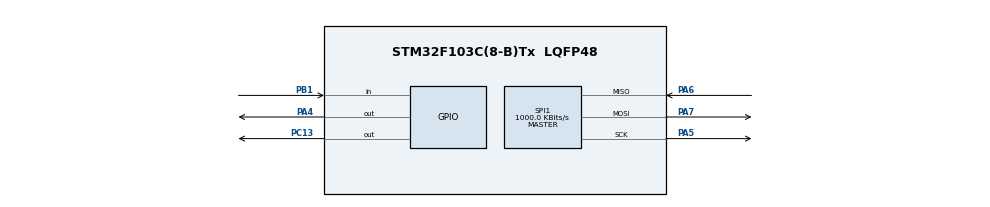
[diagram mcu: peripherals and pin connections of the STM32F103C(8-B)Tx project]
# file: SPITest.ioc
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Mcu.Family=STM32F1
Mcu.Name=STM32F103C(8-B)Tx
Mcu.Package=LQFP48
NVIC.PriorityGroup=NVIC_PRIORITYGROUP_4
PA13.Mode=Serial_Wire
PA13.Signal=SYS_JTMS-SWDIO
PA14.Mode=Serial_Wire
PA14.Signal=SYS_JTCK-SWCLK
PA4.GPIO_ModeDefaultOutputPP=GPIO_MODE_OUTPUT_PP
PA4.GPIO_Speed=GPIO_SPEED_FREQ_HIGH
PA4.PinState=GPIO_PIN_SET
PA4.Signal=GPIO_Output
PA5.Mode=Full_Duplex_Master
PA5.Signal=SPI1_SCK
PA6.Mode=Full_Duplex_Master
PA6.Signal=SPI1_MISO
PA7.Mode=Full_Duplex_Master
PA7.Signal=SPI1_MOSI
PB1.GPIO_PuPd=GPIO_PULLUP
PB1.Signal=GPIO_Input
PC13-TAMPER-RTC.GPIO_ModeDefaultOutputPP=GPIO_MODE_OUTPUT_OD
PC13-TAMPER-RTC.GPIO_PuPd=GPIO_NOPULL
PC13-TAMPER-RTC.PinState=GPIO_PIN_SET
PC13-TAMPER-RTC.Signal=GPIO_Output
ProjectManager.HeapSize=0x200
ProjectManager.StackSize=0x400
ProjectManager.TargetToolchain=MDK-ARM V5.32
RCC.APB1Freq_Value=8000000
RCC.APB2Freq_Value=8000000
SPI1.BaudRatePrescaler=SPI_BAUDRATEPRESCALER_8
SPI1.CLKPhase=SPI_PHASE_2EDGE
SPI1.CLKPolarity=SPI_POLARITY_HIGH
SPI1.CalculateBaudRate=1000.0 KBits/s
SPI1.Direction=SPI_DIRECTION_2LINES
SPI1.Mode=SPI_MODE_MASTER
SPI1.VirtualType=VM_MASTER
board=custom

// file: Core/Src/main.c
/* USER CODE BEGIN Header */
/**
  ******************************************************************************
  * @file           : main.c
  * @brief          : Main program body
  ******************************************************************************
  * @attention
  *
  * Copyright (c) 2025 STMicroelectronics.
  * All rights reserved.
  *
  * This software is licensed under terms that can be found in the LICENSE file
  * in the root directory of this software component.
  * If no LICENSE file comes with this software, it is provided AS-IS.
  *
  ******************************************************************************
  */
/* USER CODE END Header */
#include "main.h"

SPI_HandleTypeDef hspi1;

void SystemClock_Config(void);
static void MX_GPIO_Init(void);
static void MX_SPI1_Init(void);

/* USER CODE BEGIN PFP */
static void SaveLEDstate(uint8_t ledState);
static uint8_t LoadLEDState(void);

/* USER CODE END PFP */

/* USER CODE BEGIN 0 */
static uint8_t LoadLEDState(void)
{
	uint8_t readDataCmd[]={0x03,0x00,0x00,0x00};
	uint8_t ledState =0xff;
	HAL_GPIO_WritePin(GPIOA,GPIO_PIN_4,GPIO_PIN_RESET);
	HAL_SPI_Transmit(&hspi1,readDataCmd,4,HAL_MAX_DELAY);
	HAL_SPI_Receive(&hspi1,&ledState,1,HAL_MAX_DELAY);
	HAL_GPIO_WritePin(GPIOA,GPIO_PIN_4,GPIO_PIN_RESET);
	return ledState;
}
static void SaveLEDstate(uint8_t ledState)
{  //写使能
	uint8_t writeEnableCmd[]={0x06};
	HAL_GPIO_WritePin(GPIOA,GPIO_PIN_4,GPIO_PIN_RESET);
	HAL_SPI_Transmit(&hspi1,writeEnableCmd,1,HAL_MAX_DELAY);

	HAL_GPIO_WritePin(GPIOA,GPIO_PIN_4,GPIO_PIN_SET);
	//扇区擦除
	uint8_t sectorErasercmd[]={0x20,0x00,0x00,0x00};
	HAL_GPIO_WritePin(GPIOA,GPIO_PIN_4,GPIO_PIN_RESET);
	HAL_SPI_Transmit(&hspi1,sectorErasercmd,4,HAL_MAX_DELAY);
	HAL_GPIO_WritePin(GPIOA,GPIO_PIN_4,GPIO_PIN_SET);

	HAL_Delay(100);
	//写使能
	HAL_GPIO_WritePin(GPIOA,GPIO_PIN_4,GPIO_PIN_RESET);
	HAL_SPI_Transmit(&hspi1,writeEnableCmd,1,HAL_MAX_DELAY);

	HAL_GPIO_WritePin(GPIOA,GPIO_PIN_4,GPIO_PIN_SET);
	//页编程
	uint8_t pageprocmd[5]={0x02,0x00,0x00,0x00,ledState};
	HAL_GPIO_WritePin(GPIOA,GPIO_PIN_4,GPIO_PIN_RESET);
	HAL_SPI_Transmit(&hspi1,pageprocmd,5,HAL_MAX_DELAY);
	HAL_GPIO_WritePin(GPIOA,GPIO_PIN_4,GPIO_PIN_SET);

}
/* USER CODE END 0 */

int main(void)
{

  /* MCU Configuration--------------------------------------------------------*/

  /* Reset of all peripherals, Initializes the Flash interface and the Systick. */
  HAL_Init();

  /* Configure the system clock */
  SystemClock_Config();

  /* Initialize all configured peripherals */
  MX_GPIO_Init();
  MX_SPI1_Init();

  /* Infinite loop */
  /* USER CODE BEGIN WHILE */
  uint8_t pre=1,cur=1;
  uint8_t ledState=0;

  ledState=LoadLEDState();
  if(ledState ==1)
  {
  HAL_GPIO_WritePin(GPIOC,GPIO_PIN_13,GPIO_PIN_RESET);
  }
  else
  {
    HAL_GPIO_WritePin(GPIOC,GPIO_PIN_13,GPIO_PIN_SET);

  }
  while (1)
  {
	  pre =cur;
	 if(HAL_GPIO_ReadPin(GPIOB,GPIO_PIN_1)==GPIO_PIN_SET)
	 {
	 cur=1;
	 }
	  else
	  {
		cur =0;
	  }
	  if(pre != cur)
	  {
	  HAL_Delay(10);
	  if(cur == 0){}
	  else
	  {
	  if(ledState==1)
	  {
	  HAL_GPIO_WritePin(GPIOC,GPIO_PIN_13,GPIO_PIN_SET);
	  ledState=0;
	  }
	  else
	  {
	  HAL_GPIO_WritePin(GPIOC,GPIO_PIN_13,GPIO_PIN_RESET);
	  ledState=1;
	  }
	  SaveLEDstate(ledState);
	  }
	  }
    /* USER CODE END WHILE */

  }
}

void SystemClock_Config(void)
{
  RCC_OscInitTypeDef RCC_OscInitStruct = {0};
  RCC_ClkInitTypeDef RCC_ClkInitStruct = {0};

  /** Initializes the RCC Oscillators according to the specified parameters
  * in the RCC_OscInitTypeDef structure.
  */
  RCC_OscInitStruct.OscillatorType = RCC_OSCILLATORTYPE_HSI;
  RCC_OscInitStruct.HSIState = RCC_HSI_ON;
  RCC_OscInitStruct.HSICalibrationValue = RCC_HSICALIBRATION_DEFAULT;
  RCC_OscInitStruct.PLL.PLLState = RCC_PLL_NONE;
  if (HAL_RCC_OscConfig(&RCC_OscInitStruct) != HAL_OK)
  {
    Error_Handler();
  }

  /** Initializes the CPU, AHB and APB buses clocks
  */
  RCC_ClkInitStruct.ClockType = RCC_CLOCKTYPE_HCLK|RCC_CLOCKTYPE_SYSCLK
                              |RCC_CLOCKTYPE_PCLK1|RCC_CLOCKTYPE_PCLK2;
  RCC_ClkInitStruct.SYSCLKSource = RCC_SYSCLKSOURCE_HSI;
  RCC_ClkInitStruct.AHBCLKDivider = RCC_SYSCLK_DIV1;
  RCC_ClkInitStruct.APB1CLKDivider = RCC_HCLK_DIV1;
  RCC_ClkInitStruct.APB2CLKDivider = RCC_HCLK_DIV1;

  if (HAL_RCC_ClockConfig(&RCC_ClkInitStruct, FLASH_LATENCY_0) != HAL_OK)
  {
    Error_Handler();
  }
}

static void MX_SPI1_Init(void)
{

  /* SPI1 parameter configuration*/
  hspi1.Instance = SPI1;
  hspi1.Init.Mode = SPI_MODE_MASTER;
  hspi1.Init.Direction = SPI_DIRECTION_2LINES;
  hspi1.Init.DataSize = SPI_DATASIZE_8BIT;
  hspi1.Init.CLKPolarity = SPI_POLARITY_HIGH;
  hspi1.Init.CLKPhase = SPI_PHASE_2EDGE;
  hspi1.Init.NSS = SPI_NSS_SOFT;
  hspi1.Init.BaudRatePrescaler = SPI_BAUDRATEPRESCALER_8;
  hspi1.Init.FirstBit = SPI_FIRSTBIT_MSB;
  hspi1.Init.TIMode = SPI_TIMODE_DISABLE;
  hspi1.Init.CRCCalculation = SPI_CRCCALCULATION_DISABLE;
  hspi1.Init.CRCPolynomial = 10;
  if (HAL_SPI_Init(&hspi1) != HAL_OK)
  {
    Error_Handler();
  }

}

static void MX_GPIO_Init(void)
{
  GPIO_InitTypeDef GPIO_InitStruct = {0};

  /* GPIO Ports Clock Enable */
  __HAL_RCC_GPIOC_CLK_ENABLE();
  __HAL_RCC_GPIOA_CLK_ENABLE();
  __HAL_RCC_GPIOB_CLK_ENABLE();

  /*Configure GPIO pin Output Level */
  HAL_GPIO_WritePin(GPIOC, GPIO_PIN_13, GPIO_PIN_SET);

  /*Configure GPIO pin Output Level */
  HAL_GPIO_WritePin(GPIOA, GPIO_PIN_4, GPIO_PIN_SET);

  /*Configure GPIO pin : PC13 */
  GPIO_InitStruct.Pin = GPIO_PIN_13;
  GPIO_InitStruct.Mode = GPIO_MODE_OUTPUT_OD;
  GPIO_InitStruct.Pull = GPIO_NOPULL;
  GPIO_InitStruct.Speed = GPIO_SPEED_FREQ_LOW;
  HAL_GPIO_Init(GPIOC, &GPIO_InitStruct);

  /*Configure GPIO pin : PA4 */
  GPIO_InitStruct.Pin = GPIO_PIN_4;
  GPIO_InitStruct.Mode = GPIO_MODE_OUTPUT_PP;
  GPIO_InitStruct.Pull = GPIO_NOPULL;
  GPIO_InitStruct.Speed = GPIO_SPEED_FREQ_HIGH;
  HAL_GPIO_Init(GPIOA, &GPIO_InitStruct);

  /*Configure GPIO pin : PB1 */
  GPIO_InitStruct.Pin = GPIO_PIN_1;
  GPIO_InitStruct.Mode = GPIO_MODE_INPUT;
  GPIO_InitStruct.Pull = GPIO_PULLUP;
  HAL_GPIO_Init(GPIOB, &GPIO_InitStruct);

}

void Error_Handler(void)
{
  __disable_irq();
  while (1)
  {
  }
}
